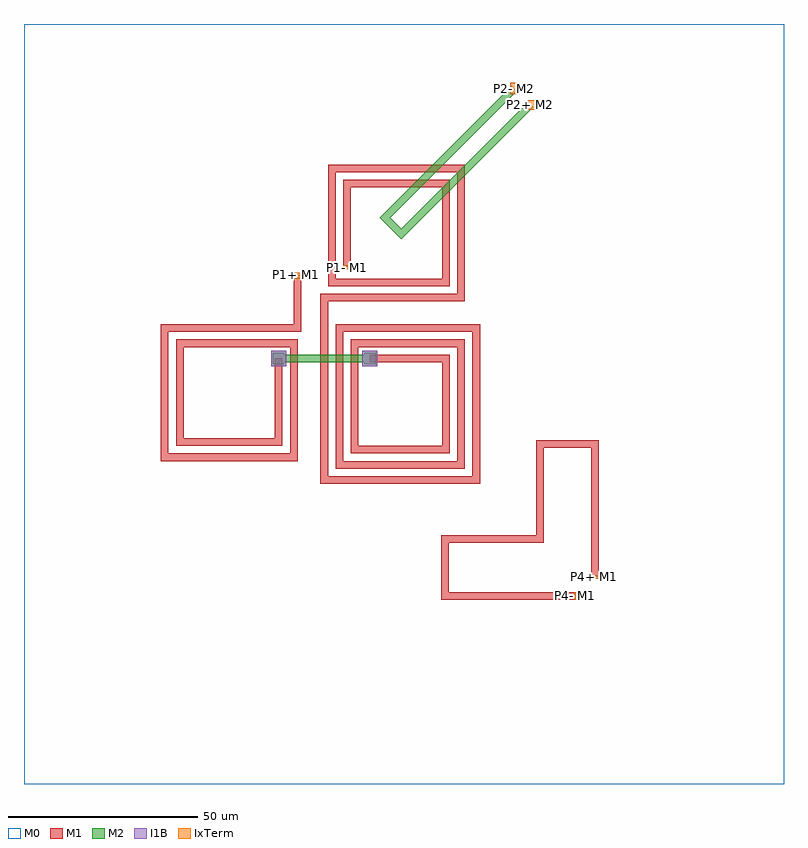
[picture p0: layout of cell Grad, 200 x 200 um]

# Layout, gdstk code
from math import pi, radians
import gdstk
lib = gdstk.Library(unit=1e-6, precision=1e-09)
def R(c, l, rs):  # rectangles x0, y0, x1, y1
    for r in rs: c.add(gdstk.rectangle(r[:2], r[2:], *l))
M1 = (1, 0)
I1B = (3, 0)
M2 = (6, 0)
M0 = (30, 0)
IxTerm = (63, 0)

squarespiral = lib.new_cell('SquareSpiral')
squarespiral.add(gdstk.FlexPath([(-9,12),(11,12),(11,-12),(-13,-12),(-13,16),(15,16),(15,-16),(-17,-16),(-17,20),(19,20),(19,-20),(-21,-20),(-21,21)], 2, ends="flush", simple_path=True, layer=1, datatype=0))  # M1

squarespiral_2 = lib.new_cell('SquareSpiral$2')
squarespiral_2.add(gdstk.FlexPath([(-10,13),(12,13),(12,-13),(-14,-13),(-14,17),(16,17),(16,-17),(-18,-17),(-18,18)], 2, ends="flush", simple_path=True, layer=1, datatype=0))  # M1

bias = lib.new_cell('Bias')
R(bias, IxTerm, [(14.25,-21,15.25,-19), (18.75,-15.5,20.75,-14.5)])
bias.add(gdstk.FlexPath([(19.75,-15),(19.75,20),(5.25,20),(5.25,-5),(-19.75,-5),(-19.75,-20),(14.75,-20)], 2, ends="flush", simple_path=True, layer=1, datatype=0))  # M1

grad = lib.new_cell('Grad')
R(grad, I1B, [(-35,10,-31,14), (-11,10,-7,14)])
R(grad, M2, [(-34.5,10.5,-31.5,13.5), (-10.5,10.5,-7.5,13.5)])
R(grad, M0, [(-100,-100,100,100)])
R(grad, IxTerm, [(-29.25,33,-26.75,34.5), (-16,35.5,-14,36.5), (32,77.5,35,80), (28,81.5,30.5,84.5)])
grad.add(gdstk.FlexPath([(-21,21),(-21,28),(-19,28)], 2, ends="flush", simple_path=True, layer=1, datatype=0))  # M1
grad.add(gdstk.FlexPath([(-28,19),(-28,34)], 2, ends="flush", simple_path=True, layer=1, datatype=0))  # M1
grad.add(gdstk.FlexPath([(29,83),(-5,49),(-0.75,44.75),(33.25,78.75)], 2, ends="flush", simple_path=True, layer=6, datatype=0))  # M2
grad.add(gdstk.FlexPath([(-8,12),(-34,12)], 2, ends="flush", simple_path=True, layer=6, datatype=0))  # M2
grad.add(gdstk.Reference(squarespiral, (0,0)))
grad.add(gdstk.Reference(squarespiral_2, (-46,2), rotation=3*pi/2))
grad.add(gdstk.Reference(squarespiral_2, (-2,46), rotation=pi/2))
grad.add(gdstk.Reference(bias, (30.5,-30.5)))
grad.add(gdstk.Label('P1- M1', (-15,36), layer=64, texttype=0))
grad.add(gdstk.Label('P2- M2', (29,83), layer=64, texttype=0))
grad.add(gdstk.Label('P2+ M2', (33.25,78.75), layer=64, texttype=0))
grad.add(gdstk.Label('P1+ M1', (-28.25,34), layer=64, texttype=0))
grad.add(gdstk.Label('P4+ M1', (50.25,-45.5), layer=64, texttype=0))
grad.add(gdstk.Label('P4- M1', (45.25,-50.5), layer=64, texttype=0))

lib.write_gds('Grad.gds')
